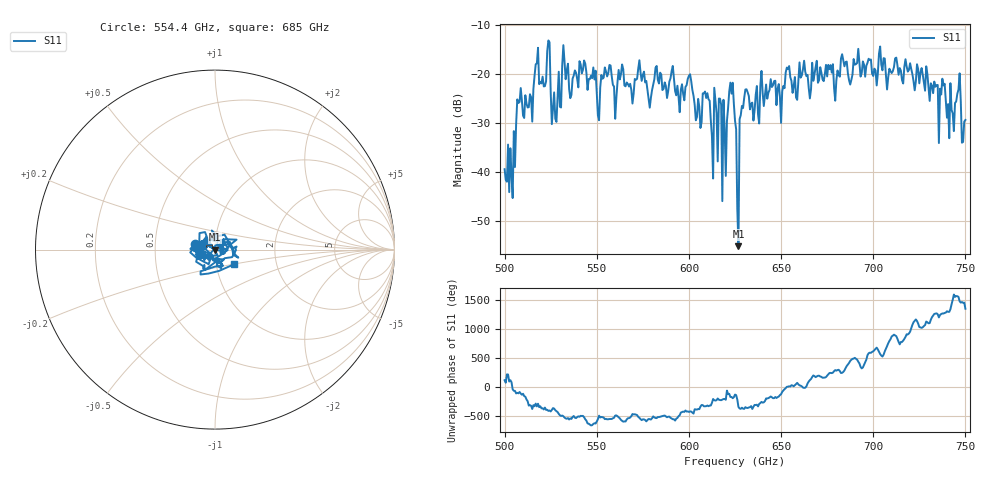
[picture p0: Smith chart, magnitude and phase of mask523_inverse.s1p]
!Created with skrf (http://scikit-rf.org).
# GHz S MA R 50.0
!freq magS11 angS11
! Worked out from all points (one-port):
!   401 points, 500 GHz to 750 GHz, reference 50 ohm
!   lowest |S11| = -55.1 dB at 626.9 GHz (marker M1), VSWR 1.00, Z = 50.2 + j0.0384 ohm
!   |S11| at or under -10 dB: start of sweep to end of sweep
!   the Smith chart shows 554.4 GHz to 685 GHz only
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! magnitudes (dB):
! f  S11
! 500 GHz  -39.4
! 505 GHz  -31.6
! 508.1 GHz  -25.6
! 513.8 GHz  -24.1
! 516.9 GHz  -18.0
! 523.8 GHz  -13.1
! 526.9 GHz  -23.7
! 531.2 GHz  -18.2
! 542.5 GHz  -19.1
! 551.2 GHz  -29.4
! 562.5 GHz  -21.0
! 593.8 GHz  -22.3
! 609.4 GHz  -24.8
! 611.9 GHz  -29.4
! 615 GHz  -27.9
! 619.4 GHz  -31.1
! 623.1 GHz  -24.0
! 625 GHz  -29.4
! 625.6 GHz  -31.2
! 626.9 GHz  -55.1
! 628.8 GHz  -26.5
! 631.2 GHz  -23.1
! 656.2 GHz  -23.8
! 687.5 GHz  -22.1
! 718.8 GHz  -19.4
! 742.5 GHz  -27.3
! 746.2 GHz  -23.1
! 750 GHz  -29.3
